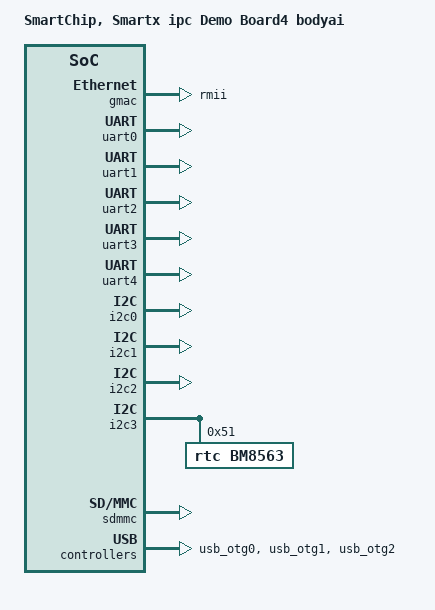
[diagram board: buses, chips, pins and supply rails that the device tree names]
/*
 * Copyright 2015 SmartChip Co., Ltd.
 */

/dts-v1/;
#include <dt-bindings/gpio/gpio.h>
#include <dt-bindings/interrupt-controller/arm-gic.h>
#include <dt-bindings/sca200v100_common.h>
#include "smartchip-sca200v100-memory.dtsi"
#include "smartchip-sca200v100.dtsi"

/ {
	model = "SmartChip, Smartx ipc Demo Board4 bodyai";
};

&gpio_reboot {
	status = "disabled";
};

&gmac {
	phy-mode = "rmii";
	status = "okay";
};
&phy0 {
	eee-broken-100tx;
	hw-reset-linkup;
	max-speed = <100>;
};

&uart0 {
	status = "okay";
};
&uart1 {
	/* PTZ */
	status = "okay";
};
&uart2 {
	/* for AF */
	status = "okay";
};
&uart3 {
	status = "okay";
};
&uart4 {
	/* rs485 */
	status = "okay";
};

&i2c0 {
	/* sensor */
	status = "okay";
};
&i2c1 {
	/* sensor */
	status = "okay";
};
&i2c2 {
	/* g-sensor */
	status = "okay";
};
&i2c3 {
	/* atsha204a,rtc */
	status = "okay";

	rtc@51 {
		reg = <0x51>;
		compatible = "rtc,bm8563";
	};
};

&rtc0 {
	status = "disabled";
};

&sdmmc {
	status = "okay";

	slot@0 {
		bus-width = <4>;
		cap-sd-highspeed;
		disable-wp;

		no-mmc;
		no-sdio;
		status = "okay";
	};
};

/delete-node/ &vbus_regulator0;
/delete-node/ &vbus_regulator1;
/delete-node/ &vbus_regulator2;
&usb_otg0 {
	status = "okay";
};
&usb_otg1 {
	status = "okay";
};
&usb_otg2 {
	status = "okay";
};
